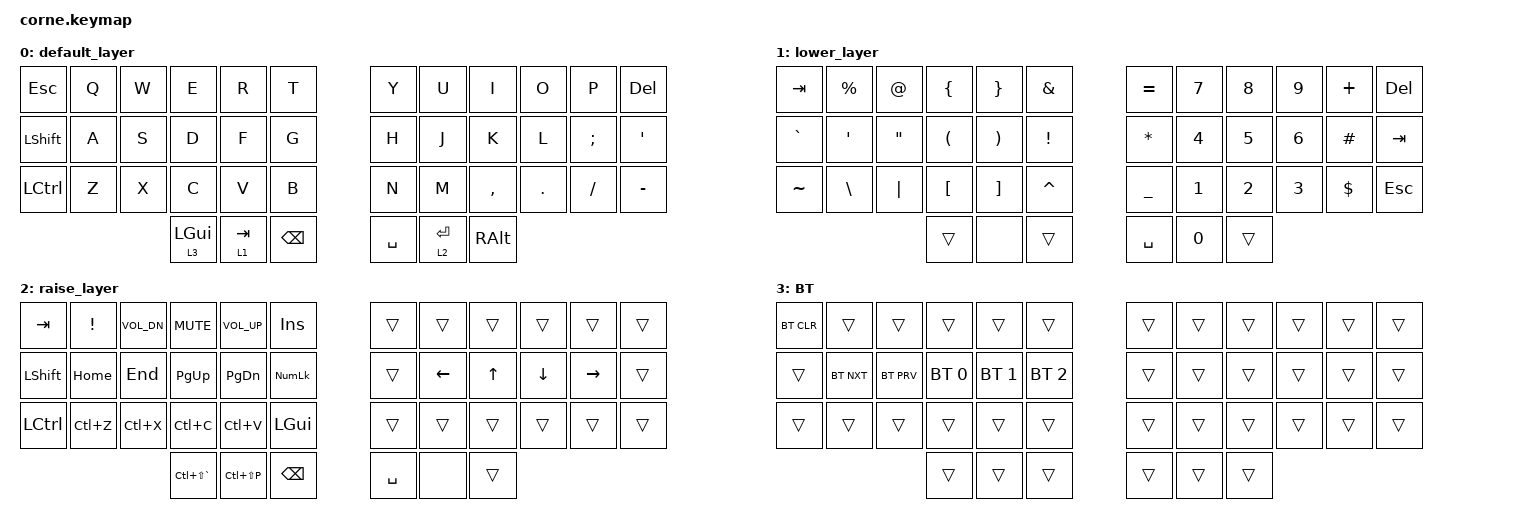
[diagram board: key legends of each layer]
/*
 * Copyright (c) 2020 The ZMK Contributors
 *
 * SPDX-License-Identifier: MIT
 */

#include <behaviors.dtsi>
#include <dt-bindings/zmk/keys.h>
#include <dt-bindings/zmk/bt.h>

/ {
    combos {
        compatible = "zmk,combos";
    };

    keymap {
        compatible = "zmk,keymap";

        default_layer {
            // -----------------------------------------------------------------------------------------
            // |  TAB |  Q  |  W  |  E  |  R  |  T  |   |  Y  |  U   |  I  |  O  |  P  | BKSP |
            // | CTRL |  A  |  S  |  D  |  F  |  G  |   |  H  |  J   |  K  |  L  |  ;  |  '   |
            // | SHFT |  Z  |  X  |  C  |  V  |  B  |   |  N  |  M   |  ,  |  .  |  /  | ESC  |
            //                    | GUI | LWR | SPC |   | ENT | RSE  | ALT |

            bindings = <
       &kp ESC  &kp Q  &kp W           &kp E      &kp R          &kp T      &kp Y        &kp U      &kp I    &kp O     &kp P        &kp DELETE
&kp LEFT_SHIFT  &kp A  &kp S           &kp D      &kp F          &kp G      &kp H        &kp J      &kp K    &kp L  &kp SEMI  &kp SINGLE_QUOTE
     &kp LCTRL  &kp Z  &kp X           &kp C      &kp V          &kp B      &kp N        &kp M  &kp COMMA  &kp DOT  &kp FSLH         &kp MINUS
                              &lt 3 LEFT_GUI  &lt 1 TAB  &kp BACKSPACE  &kp SPACE  &lt 2 ENTER   &kp RALT
            >;
        };

        lower_layer {
            // -----------------------------------------------------------------------------------------
            // |  TAB |  1  |  2  |  3  |  4  |  5  |   |  6  |  7  |  8  |  9  |  0  | BKSP |
            // | BTCLR| BT1 | BT2 | BT3 | BT4 | BT5 |   | LFT | DWN |  UP | RGT |     |      |
            // | SHFT |     |     |     |     |     |   |     |     |     |     |     |      |
            //                    | GUI |     | SPC |   | ENT |     | ALT |

            bindings = <
  &kp TAB       &kp PERCENT             &kp AT        &kp LEFT_BRACE        &kp RIGHT_BRACE   &kp AMPS  &kp EQUAL        &kp N7        &kp N8        &kp N9    &kp PLUS  &kp DEL
&kp GRAVE  &kp SINGLE_QUOTE  &kp DOUBLE_QUOTES  &kp LEFT_PARENTHESIS  &kp RIGHT_PARENTHESIS   &kp EXCL   &kp STAR        &kp N4        &kp N5        &kp N6    &kp HASH  &kp TAB
&kp TILDE          &kp BSLH           &kp PIPE      &kp LEFT_BRACKET      &kp RIGHT_BRACKET  &kp CARET  &kp UNDER  &kp NUMBER_1  &kp NUMBER_2  &kp NUMBER_3  &kp DOLLAR  &kp ESC
                                                              &trans                  &none     &trans  &kp SPACE        &kp N0        &trans
            >;
        };

        raise_layer {
            // -----------------------------------------------------------------------------------------
            // |  TAB |  !  |  @  |  #  |  $  |  %  |   |  ^  |  &  |  *  |  (  |  )  | BKSP |
            // | CTRL |     |     |     |     |     |   |  -  |  =  |  [  |  ]  |  \  |  `   |
            // | SHFT |     |     |     |     |     |   |  _  |  +  |  {  |  }  | "|" |  ~   |
            //                    | GUI |     | SPC |   | ENT |     | ALT |

            bindings = <
       &kp TAB   &kp EXCL  &kp K_VOL_DN         &kp K_MUTE   &kp K_VOL_UP        &kp INS     &trans    &trans  &trans    &trans     &trans  &trans
&kp LEFT_SHIFT   &kp HOME       &kp END        &kp PAGE_UP  &kp PAGE_DOWN     &kp KP_NUM     &trans  &kp LEFT  &kp UP  &kp DOWN  &kp RIGHT  &trans
     &kp LCTRL  &kp LC(Z)     &kp LC(X)          &kp LC(C)      &kp LC(V)   &kp LEFT_GUI     &trans    &trans  &trans    &trans     &trans  &trans
                                         &kp LC(LS(GRAVE))  &kp LC(LS(P))  &kp BACKSPACE  &kp SPACE     &none  &trans
            >;
        };

        BT {
            bindings = <
&bt BT_CLR      &trans      &trans        &trans        &trans        &trans  &trans  &trans  &trans  &trans  &trans  &trans
    &trans  &bt BT_NXT  &bt BT_PRV  &bt BT_SEL 0  &bt BT_SEL 1  &bt BT_SEL 2  &trans  &trans  &trans  &trans  &trans  &trans
    &trans      &trans      &trans        &trans        &trans        &trans  &trans  &trans  &trans  &trans  &trans  &trans
                                          &trans        &trans        &trans  &trans  &trans  &trans
            >;
        };
    };
};
